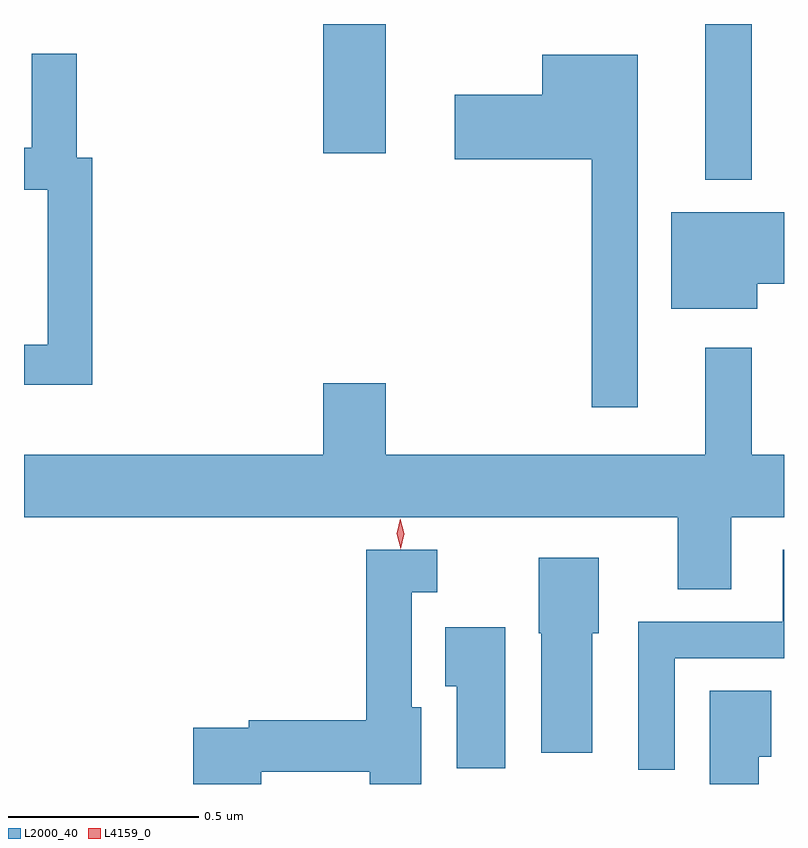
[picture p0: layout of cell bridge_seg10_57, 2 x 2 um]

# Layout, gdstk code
import gdstk
lib = gdstk.Library(unit=1e-6, precision=1e-09)
def R(c, l, rs):  # rectangles x0, y0, x1, y1
    for r in rs: c.add(gdstk.rectangle(r[:2], r[2:], *l))
def P(c, l, *ps):  # polygons
    for p in ps: c.add(gdstk.Polygon(p, *l))
L2000_40 = (2000, 40)
L4159_0 = (4159, 0)

bridge_seg10_57 = lib.new_cell('bridge_seg10_57')
R(bridge_seg10_57, L2000_40, [(849.329,1307.864,849.451,1308.274), (848.324,1307.934,848.488,1308.274)])
P(bridge_seg10_57, L2000_40, [(847.715,1307.922),(847.675,1307.922),(847.675,1308.196),(847.556,1308.196),(847.556,1307.949),(847.536,1307.949),(847.536,1307.838),(847.599,1307.838),(847.599,1307.43),(847.536,1307.43),(847.536,1307.325),(847.715,1307.325)],
  [(849.151,1308.193),(848.9,1308.193),(848.9,1308.088),(848.67,1308.088),(848.67,1307.918),(849.03,1307.918),(849.03,1307.265),(849.151,1307.265)],
  [(849.466,1307.591),(849.536,1307.591),(849.536,1307.779),(849.239,1307.779),(849.239,1307.525),(849.466,1307.525)],
  [(849.397,1306.976),(849.536,1306.976),(849.536,1307.14),(849.451,1307.14),(849.451,1307.422),(849.329,1307.422),(849.329,1307.14),(848.488,1307.14),(848.488,1307.329),(848.324,1307.329),(848.324,1307.14),(847.536,1307.14),(847.536,1306.976),(849.257,1306.976),(849.257,1306.786),(849.397,1306.786)],
  [(849.249,1306.605),(849.536,1306.605),(849.536,1306.891),(849.533,1306.891),(849.533,1306.701),(849.153,1306.701),(849.153,1306.311),(849.249,1306.311)],
  [(848.16,1306.306),(848.446,1306.306),(848.446,1306.274),(848.581,1306.274),(848.581,1306.476),(848.557,1306.476),(848.557,1306.778),(848.623,1306.778),(848.623,1306.891),(848.436,1306.891),(848.436,1306.442),(848.128,1306.442),(848.128,1306.422),(847.982,1306.422),(847.982,1306.274),(848.16,1306.274)],
  [(849.031,1306.671),(849.049,1306.671),(849.049,1306.87),(848.891,1306.87),(848.891,1306.671),(848.897,1306.671),(848.897,1306.356),(849.031,1306.356)],
  [(848.803,1306.687),(848.645,1306.687),(848.645,1306.531),(848.675,1306.531),(848.675,1306.315),(848.803,1306.315)],
  [(849.469,1306.346),(849.502,1306.346),(849.502,1306.52),(849.341,1306.52),(849.341,1306.274),(849.469,1306.274)])
P(bridge_seg10_57, L4159_0, [(848.527,1306.892),(848.527,1306.893),(848.517,1306.932),(848.526,1306.972),(848.526,1306.972),(848.526,1306.972),(848.537,1306.932),(848.527,1306.893)])

lib.write_gds('bridge_seg10_57.gds')
